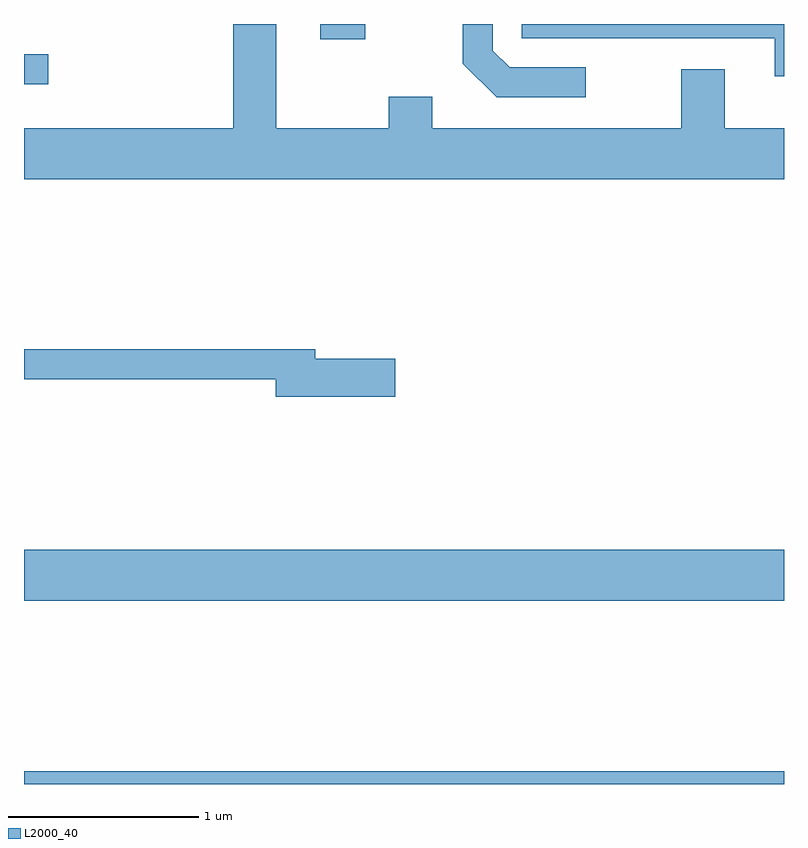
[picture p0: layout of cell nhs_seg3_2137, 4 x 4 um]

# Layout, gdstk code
import gdstk
lib = gdstk.Library(unit=1e-6, precision=1e-09)
def R(c, l, rs):  # rectangles x0, y0, x1, y1
    for r in rs: c.add(gdstk.rectangle(r[:2], r[2:], *l))
def P(c, l, *ps):  # polygons
    for p in ps: c.add(gdstk.Polygon(p, *l))
L2000_40 = (2000, 40)

nhs_seg3_2137 = lib.new_cell('nhs_seg3_2137')
R(nhs_seg3_2137, L2000_40, [(247.611,1173.892,251.611,1173.959), (247.611,1174.856,251.611,1175.124), (247.611,1177.576,247.738,1177.734), (249.171,1177.811,249.408,1177.892)])
P(nhs_seg3_2137, L2000_40, [(251.611,1177.344),(251.299,1177.344),(251.299,1177.654),(251.071,1177.654),(251.071,1177.344),(249.759,1177.344),(249.759,1177.509),(249.531,1177.509),(249.531,1177.344),(248.939,1177.344),(248.939,1177.892),(248.711,1177.892),(248.711,1177.344),(247.611,1177.344),(247.611,1177.076),(251.611,1177.076)],
  [(251.611,1177.892),(250.231,1177.892),(250.231,1177.816),(251.561,1177.816),(251.561,1177.618),(251.611,1177.618)],
  [(250.568,1177.664),(250.167,1177.664),(250.079,1177.752),(250.079,1177.892),(249.921,1177.892),(249.921,1177.684),(250.099,1177.506),(250.568,1177.506)],
  [(249.564,1176.129),(249.144,1176.129),(249.144,1176.179),(247.611,1176.179),(247.611,1176.021),(248.936,1176.021),(248.936,1175.931),(249.564,1175.931)])

lib.write_gds('nhs_seg3_2137.gds')
